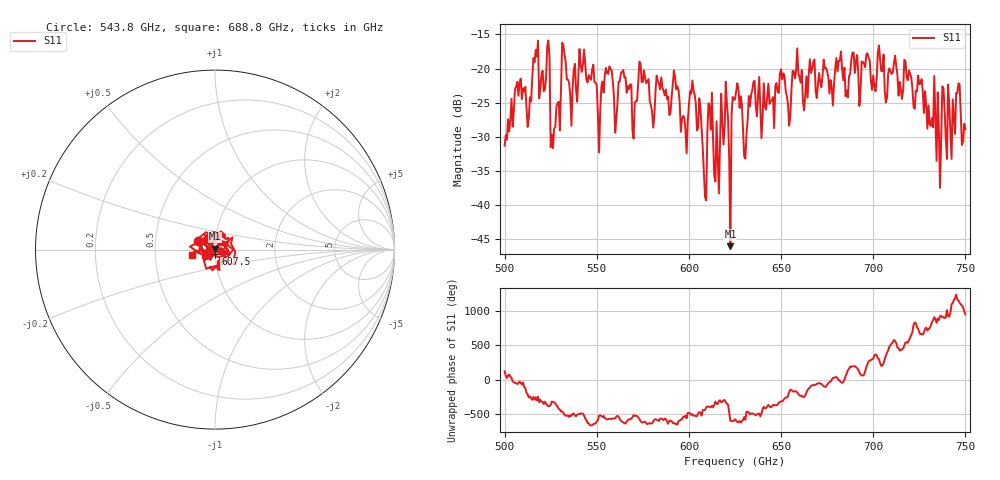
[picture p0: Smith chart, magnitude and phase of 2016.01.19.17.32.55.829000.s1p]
!Created with skrf (http://scikit-rf.org).
# GHz S RI R 50.0
!freq ReS11 ImS11
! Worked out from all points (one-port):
!   401 points, 500 GHz to 750 GHz, reference 50 ohm
!   lowest |S11| = -46.1 dB at 622.5 GHz (marker M1), VSWR 1.01, Z = 49.8 + j0.427 ohm
!   |S11| at or under -10 dB: start of sweep to end of sweep
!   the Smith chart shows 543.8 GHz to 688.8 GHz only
!   S11 on the Smith chart (normalised r, x): 543.8 GHz: 0.82, +0.08; 607.5 GHz: 1.00, -0.05; 688.8 GHz: 0.77, -0.05
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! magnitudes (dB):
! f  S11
! 500 GHz  -31.3
! 507.5 GHz  -24.0
! 513.1 GHz  -27.2
! 516.9 GHz  -17.3
! 523.1 GHz  -16.7
! 526.2 GHz  -31.7
! 531.2 GHz  -16.2
! 543.8 GHz  -19.5
! 551.2 GHz  -32.3
! 562.5 GHz  -21.9
! 593.8 GHz  -22.6
! 598.1 GHz  -29.1
! 602.5 GHz  -23.2
! 607.5 GHz  -31.7
! 611.2 GHz  -25.7
! 615 GHz  -27.8
! 618.8 GHz  -31.2
! 622.5 GHz  -46.1
! 625 GHz  -24.5
! 630.6 GHz  -33.2
! 634.4 GHz  -23.2
! 656.2 GHz  -20.4
! 687.5 GHz  -20.8
! 688.8 GHz  -17.7
! 718.8 GHz  -21.7
! 735.6 GHz  -29.2
! 746.2 GHz  -22.2
! 750 GHz  -28.9
